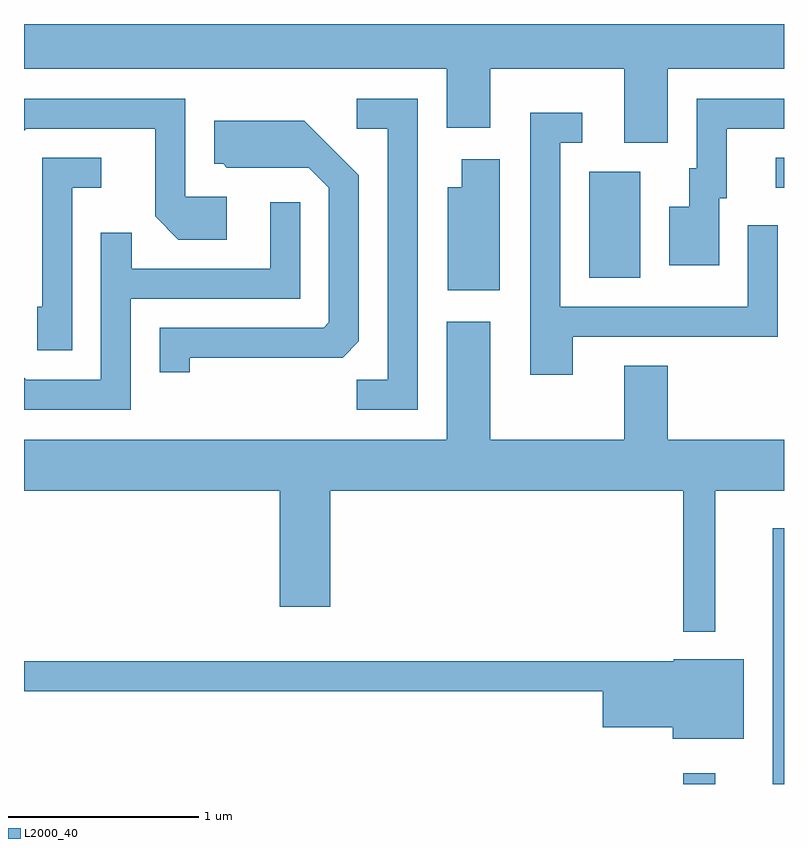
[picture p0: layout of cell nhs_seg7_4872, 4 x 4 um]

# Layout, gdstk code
import gdstk
lib = gdstk.Library(unit=1e-6, precision=1e-09)
def R(c, l, rs):  # rectangles x0, y0, x1, y1
    for r in rs: c.add(gdstk.rectangle(r[:2], r[2:], *l))
def P(c, l, *ps):  # polygons
    for p in ps: c.add(gdstk.Polygon(p, *l))
L2000_40 = (2000, 40)

nhs_seg7_4872 = lib.new_cell('nhs_seg7_4872')
R(nhs_seg7_4872, L2000_40, [(337.081,1788.252,337.249,1788.308), (337.551,1788.252,337.611,1789.599), (336.586,1790.916,336.854,1791.474), (337.568,1791.391,337.611,1791.549)])
P(nhs_seg7_4872, L2000_40, [(336.999,1792.016),(337.611,1792.016),(337.611,1792.252),(333.611,1792.252),(333.611,1792.016),(335.836,1792.016),(335.836,1791.706),(336.064,1791.706),(336.064,1792.016),(336.771,1792.016),(336.771,1791.626),(336.999,1791.626)],
  [(335.684,1791.859),(335.363,1791.859),(335.363,1791.701),(335.526,1791.701),(335.526,1790.379),(335.363,1790.379),(335.363,1790.221),(335.684,1790.221)],
  [(337.269,1791.336),(337.309,1791.336),(337.309,1791.701),(337.611,1791.701),(337.611,1791.859),(337.151,1791.859),(337.151,1791.494),(337.111,1791.494),(337.111,1791.289),(337.006,1791.289),(337.006,1790.981),(337.269,1790.981)],
  [(334.679,1791.344),(334.459,1791.344),(334.459,1791.859),(333.611,1791.859),(333.611,1791.69),(333.622,1791.701),(334.301,1791.701),(334.301,1791.239),(334.424,1791.116),(334.679,1791.116)],
  [(336.499,1790.606),(337.579,1790.606),(337.579,1791.193),(337.421,1791.193),(337.421,1790.764),(336.434,1790.764),(336.434,1791.626),(336.548,1791.626),(336.548,1791.784),(336.276,1791.784),(336.276,1790.406),(336.499,1790.406)],
  [(334.484,1790.496),(335.289,1790.496),(335.374,1790.582),(335.374,1791.457),(335.087,1791.744),(334.611,1791.744),(334.611,1791.516),(334.659,1791.516),(334.679,1791.496),(335.109,1791.496),(335.216,1791.389),(335.216,1790.682),(335.189,1790.654),(334.326,1790.654),(334.326,1790.418),(334.484,1790.418)],
  [(333.864,1791.391),(334.018,1791.391),(334.018,1791.549),(333.706,1791.549),(333.706,1790.764),(333.681,1790.764),(333.681,1790.536),(333.864,1790.536)],
  [(336.114,1791.539),(335.916,1791.539),(335.916,1791.394),(335.841,1791.394),(335.841,1790.851),(336.114,1790.851)],
  [(334.174,1790.806),(335.064,1790.806),(335.064,1791.313),(334.906,1791.313),(334.906,1790.964),(334.179,1790.964),(334.179,1791.153),(334.016,1791.153),(334.016,1790.379),(333.622,1790.379),(333.611,1790.39),(333.611,1790.221),(334.174,1790.221)],
  [(337.249,1789.796),(337.611,1789.796),(337.611,1790.064),(336.999,1790.064),(336.999,1790.454),(336.771,1790.454),(336.771,1790.064),(336.064,1790.064),(336.064,1790.684),(335.836,1790.684),(335.836,1790.064),(333.611,1790.064),(333.611,1789.796),(334.956,1789.796),(334.956,1789.186),(335.224,1789.186),(335.224,1789.796),(337.081,1789.796),(337.081,1789.053),(337.249,1789.053)],
  [(337.399,1788.909),(337.03,1788.909),(337.03,1788.899),(333.611,1788.899),(333.611,1788.741),(336.656,1788.741),(336.656,1788.551),(337.026,1788.551),(337.026,1788.491),(337.399,1788.491)])

lib.write_gds('nhs_seg7_4872.gds')
